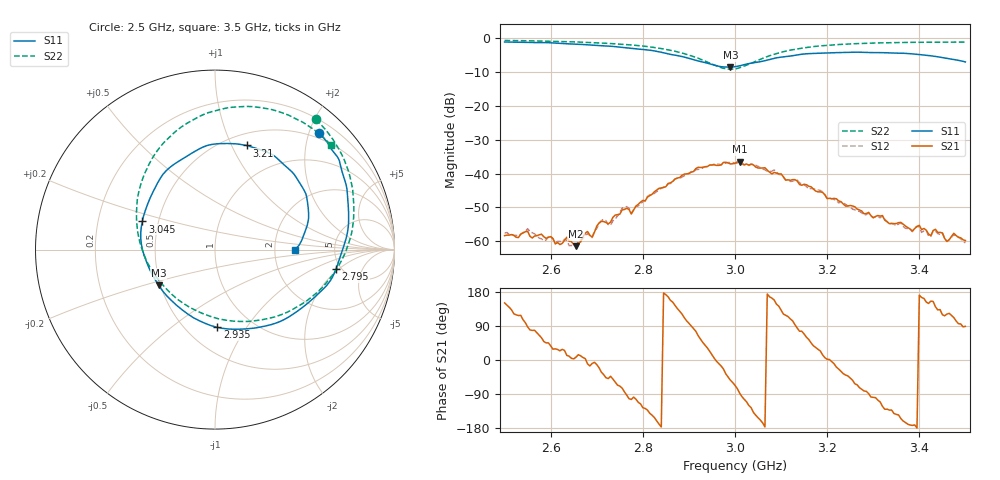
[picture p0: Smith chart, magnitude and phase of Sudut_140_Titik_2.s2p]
# Hz S RI R 50
! CMT, C1220, 16058040, 17.2.0/1
! Date: 15/08/2018 10:49:51
! Data: Format (Calibration Info)
! Freq  S11: Re/Im (F2)  S21: Re/Im (F2)  S12: Re/Im (F2)  S22: Re/Im (F2)
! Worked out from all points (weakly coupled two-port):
!   201 points, 2.5 GHz to 3.5 GHz, reference 50 ohm
!   highest |S21| = -36.49 dB at 3.01 GHz (marker M1); lowest = -61.4 dB at 2.655 GHz (marker M2)
!   lowest |S11| = -8.6 dB at 2.99 GHz (marker M3), VSWR 2.18, Z = 24.4 - j11.3 ohm
!   |S11| at or under -10 dB: nowhere
!   |S22| runs from -9.2 to -0.7 dB; largest |S21 - S12| = 0.0011
!   S11 on the Smith chart (normalised r, x): 2.5 GHz: 0.40, +2.17; 2.795 GHz: 4.50, -1.85; 2.935 GHz: 0.70, -0.74; 3.045 GHz: 0.41, +0.16; 3.21 GHz: 0.62, +1.14; 3.5 GHz: 2.59, -0.02
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2.5e9  0.5805 0.6497  -0.00106 0.000595  -0.00115 0.000628  0.5626 0.726
2.55e9  0.6371 0.5765  6.77e-05 0.00141  -7.74e-05 0.00154  0.6188 0.665
2.585e9  0.6857 0.5109  0.00077 0.000882  0.000619 0.000813  0.6567 0.6141
2.655e9  0.7344 0.342  0.000842 0.000114  0.000858 0.000177  0.7247 0.4876
2.67e9  0.7375 0.3109  0.00116 0.000131  0.0011 4.56e-05  0.7374 0.4546
2.69e9  0.7423 0.2468  0.00114 -0.000182  0.00112 -0.000215  0.7514 0.4088
2.71e9  0.7447 0.188  0.00167 -0.00105  0.00178 -0.000956  0.7631 0.3562
2.73e9  0.7429 0.1326  0.00141 -0.00131  0.00117 -0.00128  0.7696 0.3036
2.755e9  0.7242 0.0413  0.000797 -0.0028  0.000964 -0.00294  0.7739 0.2301
2.775e9  0.702 -0.0267  -0.000618 -0.00246  -0.000653 -0.0025  0.7711 0.1637
2.795e9  0.6737 -0.11  -0.00165 -0.00341  -0.00156 -0.00322  0.7613 0.0931
2.835e9  0.5748 -0.2471  -0.00593 -0.00115  -0.00567 -0.00134  0.7032 -0.0644
2.935e9  0.0125 -0.4331  0.00978 0.00794  0.00945 0.00836  0.2248 -0.396
2.99e9  -0.3138 -0.1987  0.0083 -0.0111  0.00891 -0.0115  -0.213 -0.2739
3e9  -0.3519 -0.1354  0.00554 -0.013  0.00483 -0.0133  -0.2777 -0.2118
3.01e9  -0.3818 -0.0675  0.00071 -0.015  0.000725 -0.0143  -0.3347 -0.1433
3.045e9  -0.4048 0.1567  -0.0103 -0.00702  -0.0108 -0.00764  -0.4347 0.1321
3.1e9  -0.2549 0.455  -0.00656 0.00741  -0.00601 0.00748  -0.3526 0.5036
3.17e9  0.0273 0.5903  0.00469 0.00363  0.00444 0.00397  -0.0916 0.7392
3.21e9  0.1768 0.5801  0.00423 -0.000328  0.0042 -0.000644  0.0531 0.7864
3.335e9  0.4649 0.3826  -0.00122 -0.00135  -0.00126 -0.0013  0.391 0.7563
3.5e9  0.4432 -0.00377  2.25e-05 0.00103  9.41e-05 0.000942  0.6435 0.5851
